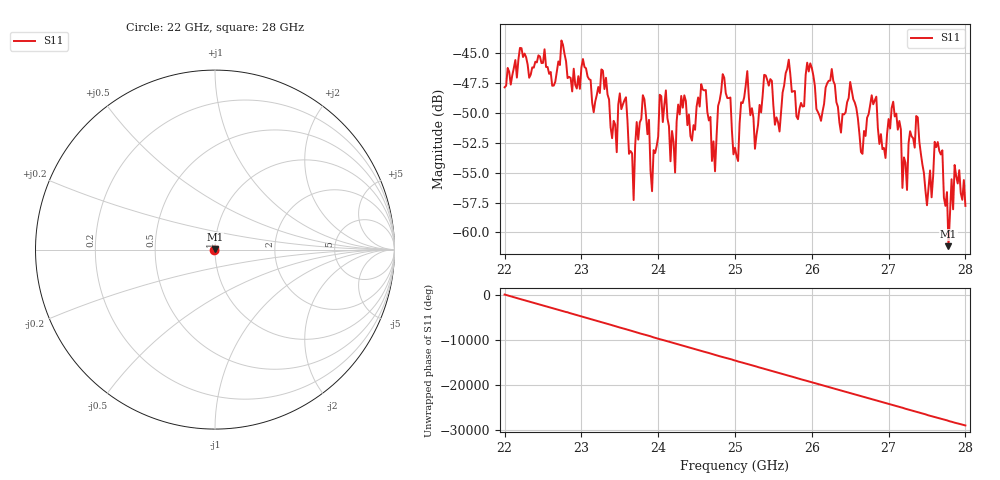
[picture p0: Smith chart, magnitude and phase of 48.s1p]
#  HZ  S  RI  R  50.00
! Rohde & Schwarz ZVA40 4Ports - Version 3.90 - 1145.1110k42 SN: 100403
! Date: 2023-10-04 06:24:29
! Measurement: S12
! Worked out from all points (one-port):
!   301 points, 22 GHz to 28 GHz, reference 50 ohm
!   lowest |S11| = -61.1 dB at 27.78 GHz (marker M1), VSWR 1.00, Z = 50.1 + j0.0703 ohm
!   |S11| at or under -10 dB: start of sweep to end of sweep
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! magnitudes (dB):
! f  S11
! 22 GHz  -47.9
! 22.76 GHz  -44.3
! 23.46 GHz  -53.3
! 23.5 GHz  -48.4
! 23.68 GHz  -57.3
! 23.8 GHz  -48.5
! 23.92 GHz  -56.6
! 24.02 GHz  -48.5
! 24.22 GHz  -55.0
! 24.26 GHz  -49.3
! 24.62 GHz  -48.1
! 24.74 GHz  -54.9
! 24.84 GHz  -46.8
! 25 GHz  -52.9
! 25.16 GHz  -46.5
! 25.26 GHz  -53.0
! 25.38 GHz  -46.8
! 25.76 GHz  -48.2
! 26.5 GHz  -47.4
! 26.66 GHz  -53.4
! 26.78 GHz  -48.5
! 27.26 GHz  -52.5
! 27.38 GHz  -50.4
! 27.5 GHz  -57.7
! 27.7 GHz  -53.1
! 27.78 GHz  -61.1
! 27.86 GHz  -54.4
! 28 GHz  -57.8
